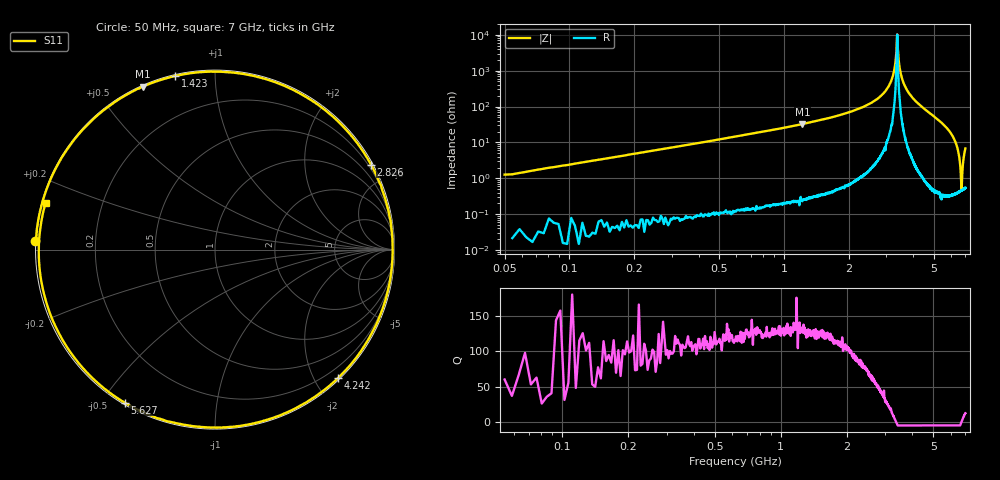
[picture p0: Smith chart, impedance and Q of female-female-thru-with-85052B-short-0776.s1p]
! This is a Touchstone .s1p format file
! It should be saved with .s1p extension.
! HEWLETT PACKARD,8720D,0,7.74
! Date =  2 Feb 2024
! Time = 13:58:03
! S11 measured = FALSE
! S21 measured = FALSE
! S12 measured = FALSE
! S22 measured = TRUE
! Start frequency = 0.050000000 GHz
! Centre frequency  = 3.524999936 GHz
! Stop frequency  = 7.000000000 GHz
! IF bandwidth = 300 Hz
! Smoothing = OFF
! Smoothing aperture = 1.000000 %
! Averaging = OFF
! Averaging factor = 16
! Source power = On
! Source power = Auto mode
! Output power level = 5.000000 dBm
! Retrace power = Off
! Testset switching = Continuous
! Number of sweeps for test set switching (0=hold, 1=continuous,2-999 = number of sweeps) = 1
! Step sweep = On (check)
! List frequency sweep = Off (check)
! IFBW setting for a list-frequency table in swept list mode = Disabled (Check)
! Power setting for a list-frequency table in swept list mode = Disabled (Check)
! Measurement mode = Chop A and B
! Port extensions = OFF
! Port extension 1 = 0.000000 ps
! Port extension 2 = 74.240003 ps
! Points  = 1601
! Calibration kit = 3.5 mm E
! Calibration = S22 1-port
! Power = 5.000000 dBm
! Frequency magS22 angS22
! Magnitudes are in log form
! Angles are in degrees
# MHz S DB R 50
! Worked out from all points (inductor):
!   1601 points, 50 MHz to 7 GHz, reference 50 ohm
!   read as one part to ground: L = 3.83 nH near 84.75 MHz
!   highest Q = 133 at 1.218 GHz (marker M1), where L = 4.25 nH
!   self-resonance near 3.364 GHz
!   S11 on the Smith chart (normalised r, x): 50 MHz: -0.00, +0.03; 1.423 GHz: 0.01, +0.80; 2.826 GHz: 0.09, +3.92; 4.242 GHz: 0.03, -2.35; 5.627 GHz: 0.01, -0.57; 7 GHz: 0.01, +0.14
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50  0.02 177.1
258.5  -0.02 165.8
467  -0.03 154.5
688.5312  -0.04 142.5
918.75  -0.05 130.1
1218.469  -0.06 113.9
1422.625  -0.07 103.0
1787.5  -0.08 83.5
2000.344  -0.08 72.2
2204.5  -0.09 61.4
2656.25  -0.09 37.5
2825.656  -0.09 28.6
3173.156  -0.09 10.3
3525  -0.09 -8.3
3863.812  -0.09 -26.1
4241.719  -0.08 -46.1
4393.75  -0.08 -54.2
4619.625  -0.07 -66.2
4836.812  -0.07 -77.9
5054  -0.08 -89.6
5262.5  -0.08 -100.8
5627.375  -0.09 -120.6
5866.281  -0.10 -133.6
6131.25  -0.11 -148.0
6352.781  -0.13 -160.1
6565.625  -0.15 -171.8
6778.469  -0.17 176.6
7000  -0.19 164.5
